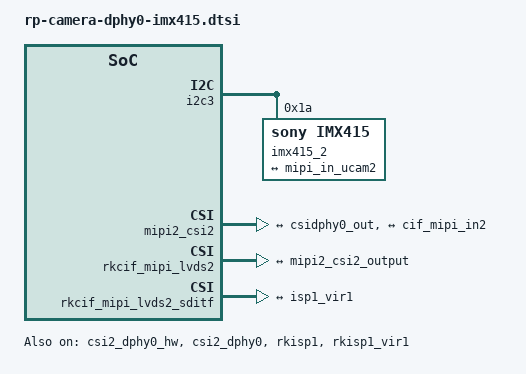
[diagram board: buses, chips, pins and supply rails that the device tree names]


&i2c3 {
	status = "okay";
	pinctrl-names = "default";
	pinctrl-0 = <&i2c3m0_xfer>;

  
	imx415_2: imx415_2@1a {
		compatible = "sony,imx415";
		status = "okay";
		reg = <0x1a>;
		clocks = <&cru CLK_MIPI_CAMARAOUT_M3>;
		clock-names = "xvclk";
		power-domains = <&power RK3588_PD_VI>;
		pinctrl-names = "default";
		pinctrl-0 = <&mipim0_camera3_clk>;
		rockchip,grf = <&sys_grf>;
//		pwdn-gpios = <&gpio1 RK_PB1 GPIO_ACTIVE_HIGH>;
		rockchip,camera-module-index = <2>;
		rockchip,camera-module-facing = "front";
		rockchip,camera-module-name = "CMK-OT2022-PX1";
		rockchip,camera-module-lens-name = "IR0147-50IRC-8M-F20";
		port {
			imx415_out2: endpoint {
				remote-endpoint = <&mipi_in_ucam2>;
				data-lanes = <1 2 3 4>;
			};
		};
	};
};

&csi2_dphy0_hw {
	status = "okay";
};

&csi2_dphy0 {
	status = "okay";
	ports {
		#address-cells = <1>;
		#size-cells = <0>;
		port@0 {
			reg = <0>;
			#address-cells = <1>;
			#size-cells = <0>;
			mipi_in_ucam2: endpoint@1 {
				reg = <1>;
				remote-endpoint = <&imx415_out2>;
				data-lanes = <1 2 3 4>;
			};
		};
		port@1 {
			reg = <1>;
			#address-cells = <1>;
			#size-cells = <0>;
			csidphy0_out: endpoint@0 {
				reg = <0>;
				remote-endpoint = <&mipi2_csi2_input>;
			};
		};
	};
};

&mipi2_csi2 {
	status = "okay";
	ports {
		#address-cells = <1>;
		#size-cells = <0>;
		port@0 {
			reg = <0>;
			#address-cells = <1>;
			#size-cells = <0>;
			mipi2_csi2_input: endpoint@1 {
				reg = <1>;
				remote-endpoint = <&csidphy0_out>;
			};
		};
		port@1 {
			reg = <1>;
			#address-cells = <1>;
			#size-cells = <0>;
			mipi2_csi2_output: endpoint@0 {
				reg = <0>;
				remote-endpoint = <&cif_mipi_in2>;
			};
		};
	};
};


&rkcif_mipi_lvds2 {
	status = "okay";
	port {
		cif_mipi_in2: endpoint {
			remote-endpoint = <&mipi2_csi2_output>;
		};
	};
};

&rkcif_mipi_lvds2_sditf {
	status = "okay";
	port {
		mipi2_lvds_sditf: endpoint {
			remote-endpoint = <&isp1_vir1>;
		};
	};
};

&rkisp1 {
	status = "okay";
};

&isp1_mmu {
	status = "okay";
};

&rkisp1_vir1 {
	status = "okay";
	port {
		#address-cells = <1>;
		#size-cells = <0>;

		isp1_vir1: endpoint@0 {
			reg = <0>;
			remote-endpoint = <&mipi2_lvds_sditf>;
		};
	};
};

